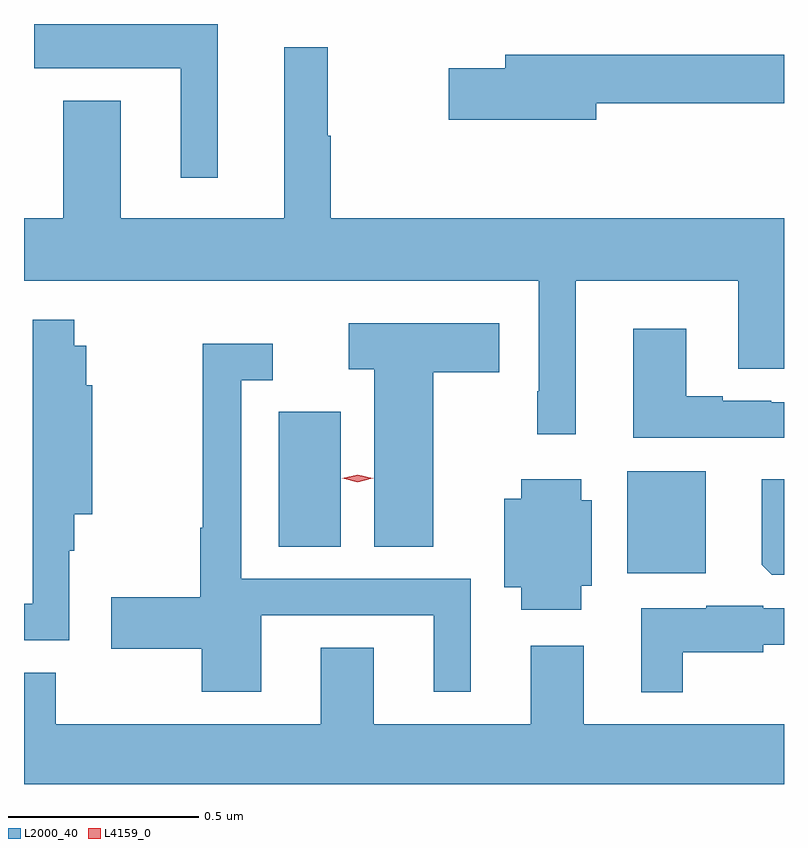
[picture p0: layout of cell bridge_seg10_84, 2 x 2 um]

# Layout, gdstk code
import gdstk
lib = gdstk.Library(unit=1e-6, precision=1e-09)
def R(c, l, rs):  # rectangles x0, y0, x1, y1
    for r in rs: c.add(gdstk.rectangle(r[:2], r[2:], *l))
def P(c, l, *ps):  # polygons
    for p in ps: c.add(gdstk.Polygon(p, *l))
L2000_40 = (2000, 40)
L4159_0 = (4159, 0)

bridge_seg10_84 = lib.new_cell('bridge_seg10_84')
R(bridge_seg10_84, L2000_40, [(661.976,1291.553,662.182,1291.822), (661.058,1291.624,661.222,1291.978)])
P(bridge_seg10_84, L2000_40, [(660.898,1292.999),(660.415,1292.999),(660.415,1292.882),(660.8,1292.882),(660.8,1292.595),(660.898,1292.595)],
  [(661.84,1292.324),(662.267,1292.324),(662.267,1292.092),(662.388,1292.092),(662.388,1292.488),(661.195,1292.488),(661.195,1292.705),(661.187,1292.705),(661.187,1292.938),(661.073,1292.938),(661.073,1292.488),(660.643,1292.488),(660.643,1292.797),(660.491,1292.797),(660.491,1292.488),(660.388,1292.488),(660.388,1292.324),(661.743,1292.324),(661.743,1292.032),(661.738,1292.032),(661.738,1291.92),(661.84,1291.92)],
  [(661.894,1292.79),(662.388,1292.79),(662.388,1292.918),(661.655,1292.918),(661.655,1292.882),(661.506,1292.882),(661.506,1292.747),(661.894,1292.747)],
  [(660.507,1291.613),(660.52,1291.613),(660.52,1291.709),(660.568,1291.709),(660.568,1292.049),(660.552,1292.049),(660.552,1292.152),(660.52,1292.152),(660.52,1292.221),(660.411,1292.221),(660.411,1291.473),(660.388,1291.473),(660.388,1291.377),(660.507,1291.377)],
  [(661.465,1292.083),(661.639,1292.083),(661.639,1292.212),(661.242,1292.212),(661.242,1292.09),(661.31,1292.09),(661.31,1291.624),(661.465,1291.624)],
  [(662.388,1292.004),(662.354,1292.004),(662.354,1292.007),(662.227,1292.007),(662.227,1292.02),(662.131,1292.02),(662.131,1292.197),(661.991,1292.197),(661.991,1291.91),(662.388,1291.91)],
  [(661.012,1291.443),(661.466,1291.443),(661.466,1291.242),(661.564,1291.242),(661.564,1291.539),(660.96,1291.539),(660.96,1292.061),(661.042,1292.061),(661.042,1292.158),(660.859,1292.158),(660.859,1291.673),(660.852,1291.673),(660.852,1291.49),(660.618,1291.49),(660.618,1291.355),(660.856,1291.355),(660.856,1291.242),(661.012,1291.242)],
  [(661.855,1291.521),(661.882,1291.521),(661.882,1291.746),(661.855,1291.746),(661.855,1291.801),(661.697,1291.801),(661.697,1291.75),(661.652,1291.75),(661.652,1291.517),(661.697,1291.517),(661.697,1291.457),(661.855,1291.457)],
  [(662.388,1291.801),(662.33,1291.801),(662.33,1291.576),(662.356,1291.55),(662.388,1291.55)],
  [(662.122,1291.346),(662.334,1291.346),(662.334,1291.365),(662.388,1291.365),(662.388,1291.461),(662.334,1291.461),(662.334,1291.468),(662.184,1291.468),(662.184,1291.462),(662.012,1291.462),(662.012,1291.241),(662.122,1291.241)],
  [(662.388,1291.156),(661.861,1291.156),(661.861,1291.363),(661.721,1291.363),(661.721,1291.156),(661.309,1291.156),(661.309,1291.358),(661.169,1291.358),(661.169,1291.156),(660.471,1291.156),(660.471,1291.292),(660.388,1291.292),(660.388,1290.999),(662.388,1290.999)])
P(bridge_seg10_84, L4159_0, [(661.266,1291.793),(661.226,1291.803),(661.225,1291.803),(661.226,1291.803),(661.266,1291.813),(661.306,1291.804),(661.307,1291.803),(661.306,1291.803)])

lib.write_gds('bridge_seg10_84.gds')
